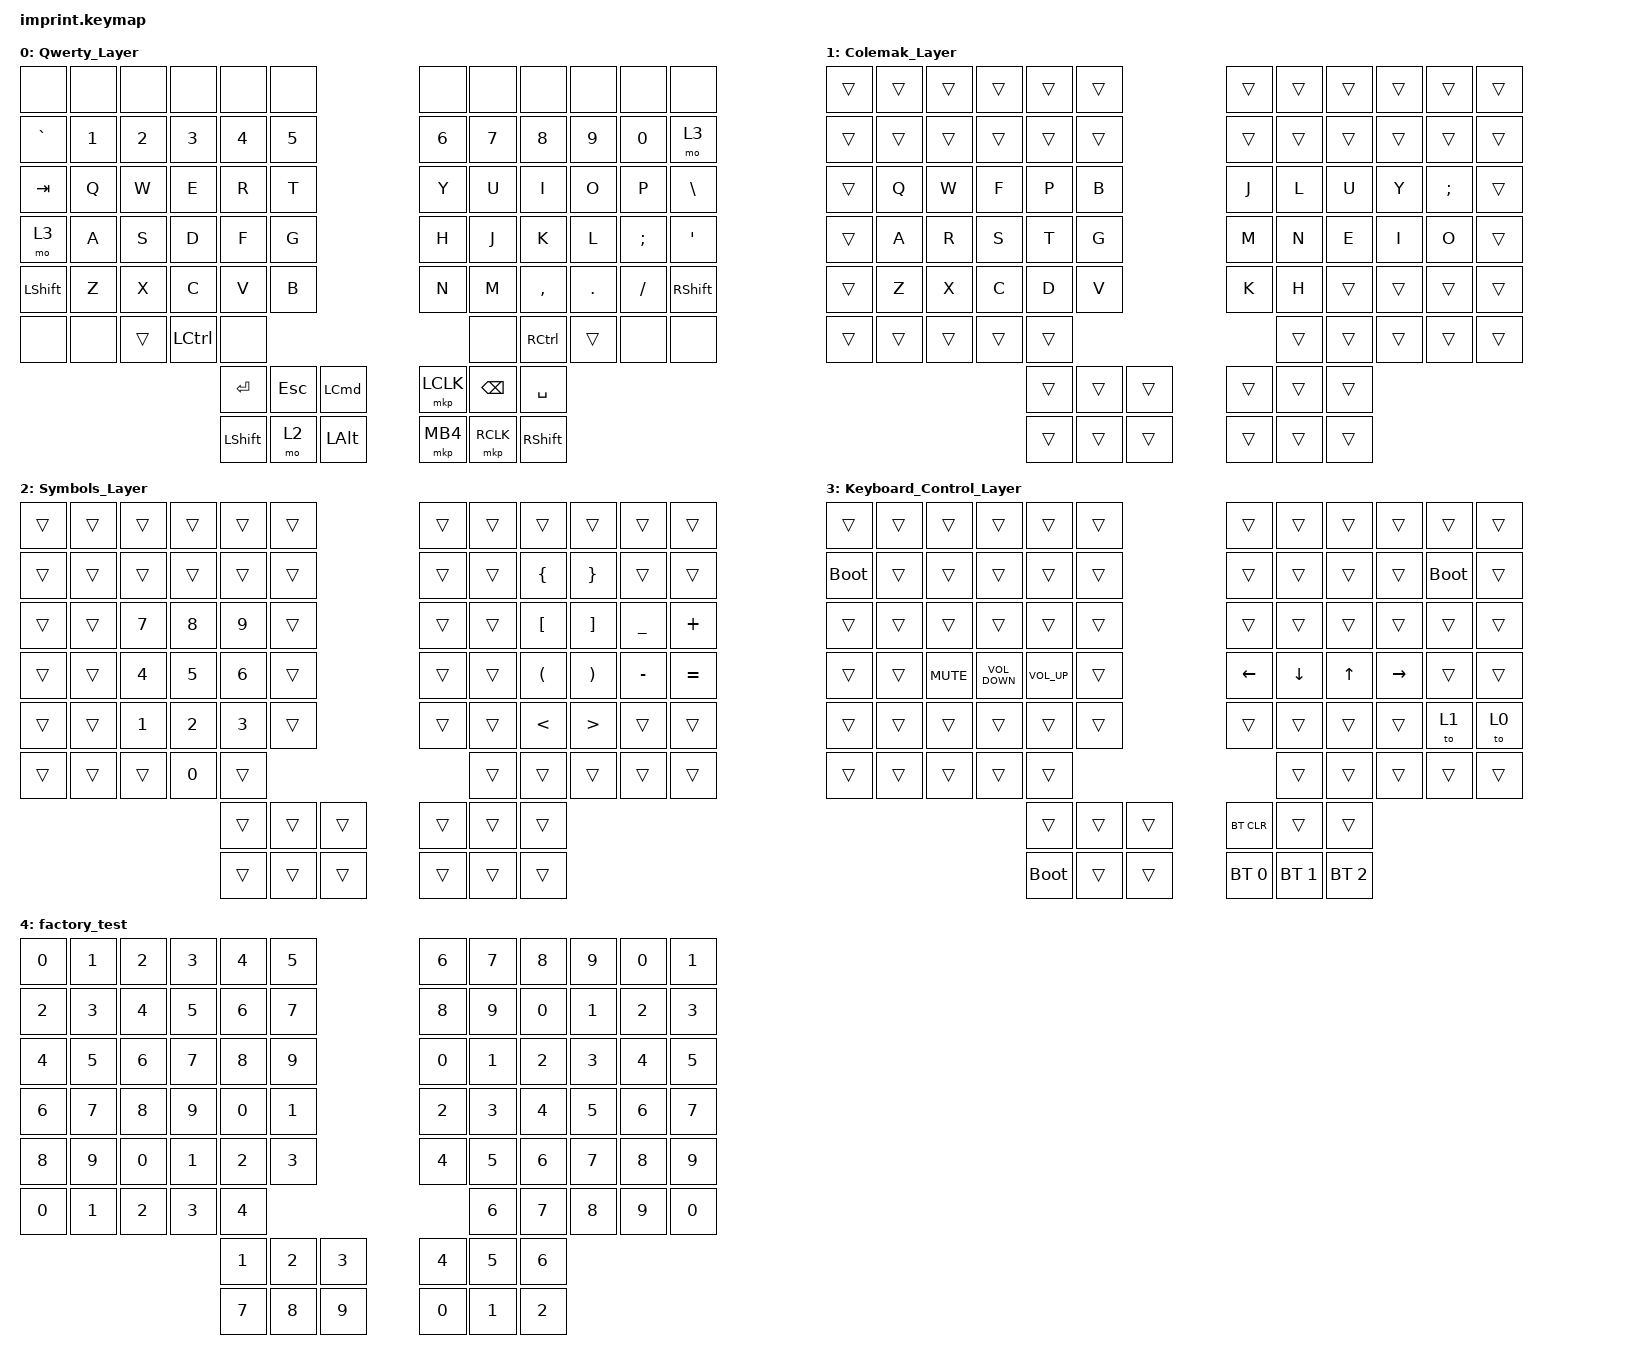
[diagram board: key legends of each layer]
#include <input/processors.dtsi>
#include <dt-bindings/zmk/input_transform.h>
#include <behaviors.dtsi>
#include <dt-bindings/zmk/bt.h>
#include <dt-bindings/zmk/keys.h>
#include <dt-bindings/zmk/pointing.h>

/ {
    chosen { zmk,matrix-transform = &imprint_function_row_full_bottom_row; };

    keymap {
        compatible = "zmk,keymap";

        Qwerty_Layer {
            bindings = <
&none      &none   &none   &none             &none           &none                           &none      &none      &none              &none    &none          &none
&kp GRAVE  &kp N1  &kp N2  &kp N3            &kp N4          &kp N5                          &kp N6     &kp N7     &kp N8             &kp N9   &kp N0         &mo 3
&kp TAB    &kp Q   &kp W   &kp E             &kp R           &kp T                           &kp Y      &kp U      &kp I              &kp O    &kp P          &kp BSLH
&mo 3      &kp A   &kp S   &kp D             &kp F           &kp G                           &kp H      &kp J      &kp K              &kp L    &kp SEMICOLON  &kp SQT
&kp LSHFT  &kp Z   &kp X   &kp C             &kp V           &kp B                           &kp N      &kp M      &kp COMMA          &kp DOT  &kp FSLH       &kp RSHFT
&none      &none   &trans  &kp LEFT_CONTROL  &none                                                      &none      &kp RIGHT_CONTROL  &trans   &none          &none
                                             &kp RET         &kp ESCAPE  &kp LEFT_COMMAND    &mkp LCLK  &kp BSPC   &kp SPACE
                                             &kp LEFT_SHIFT  &mo 2       &kp LEFT_ALT        &mkp MB4   &mkp RCLK  &kp RIGHT_SHIFT
            >;
        };

        Colemak_Layer {
            bindings = <
&trans  &trans  &trans  &trans  &trans  &trans            &trans  &trans  &trans  &trans  &trans         &trans
&trans  &trans  &trans  &trans  &trans  &trans            &trans  &trans  &trans  &trans  &trans         &trans
&trans  &kp Q   &kp W   &kp F   &kp P   &kp B             &kp J   &kp L   &kp U   &kp Y   &kp SEMICOLON  &trans
&trans  &kp A   &kp R   &kp S   &kp T   &kp G             &kp M   &kp N   &kp E   &kp I   &kp O          &trans
&trans  &kp Z   &kp X   &kp C   &kp D   &kp V             &kp K   &kp H   &trans  &trans  &trans         &trans
&trans  &trans  &trans  &trans  &trans                            &trans  &trans  &trans  &trans         &trans
                                &trans  &trans  &trans    &trans  &trans  &trans
                                &trans  &trans  &trans    &trans  &trans  &trans
            >;
        };

        Symbols_Layer {
            bindings = <
&trans  &trans  &trans  &trans  &trans  &trans            &trans  &trans  &trans                &trans                 &trans          &trans
&trans  &trans  &trans  &trans  &trans  &trans            &trans  &trans  &kp LEFT_BRACE        &kp RIGHT_BRACE        &trans          &trans
&trans  &trans  &kp N7  &kp N8  &kp N9  &trans            &trans  &trans  &kp LEFT_BRACKET      &kp RIGHT_BRACKET      &kp UNDERSCORE  &kp PLUS
&trans  &trans  &kp N4  &kp N5  &kp N6  &trans            &trans  &trans  &kp LEFT_PARENTHESIS  &kp RIGHT_PARENTHESIS  &kp MINUS       &kp EQUAL
&trans  &trans  &kp N1  &kp N2  &kp N3  &trans            &trans  &trans  &kp LESS_THAN         &kp GREATER_THAN       &trans          &trans
&trans  &trans  &trans  &kp N0  &trans                            &trans  &trans                &trans                 &trans          &trans
                                &trans  &trans  &trans    &trans  &trans  &trans
                                &trans  &trans  &trans    &trans  &trans  &trans
            >;
        };

        Keyboard_Control_Layer {
            bindings = <
&trans       &trans  &trans      &trans             &trans           &trans            &trans        &trans        &trans        &trans     &trans       &trans
&bootloader  &trans  &trans      &trans             &trans           &trans            &trans        &trans        &trans        &trans     &bootloader  &trans
&trans       &trans  &trans      &trans             &trans           &trans            &trans        &trans        &trans        &trans     &trans       &trans
&trans       &trans  &kp K_MUTE  &kp C_VOLUME_DOWN  &kp C_VOLUME_UP  &trans            &kp LEFT      &kp DOWN      &kp UP        &kp RIGHT  &trans       &trans
&trans       &trans  &trans      &trans             &trans           &trans            &trans        &trans        &trans        &trans     &to 1        &to 0
&trans       &trans  &trans      &trans             &trans                                           &trans        &trans        &trans     &trans       &trans
                                                    &trans           &trans  &trans    &bt BT_CLR    &trans        &trans
                                                    &bootloader      &trans  &trans    &bt BT_SEL 0  &bt BT_SEL 1  &bt BT_SEL 2
            >;
        };

        factory_test {
            bindings = <
&kp N0  &kp N1  &kp N2  &kp N3  &kp N4  &kp N5            &kp N6  &kp N7  &kp N8  &kp N9  &kp N0  &kp N1
&kp N2  &kp N3  &kp N4  &kp N5  &kp N6  &kp N7            &kp N8  &kp N9  &kp N0  &kp N1  &kp N2  &kp N3
&kp N4  &kp N5  &kp N6  &kp N7  &kp N8  &kp N9            &kp N0  &kp N1  &kp N2  &kp N3  &kp N4  &kp N5
&kp N6  &kp N7  &kp N8  &kp N9  &kp N0  &kp N1            &kp N2  &kp N3  &kp N4  &kp N5  &kp N6  &kp N7
&kp N8  &kp N9  &kp N0  &kp N1  &kp N2  &kp N3            &kp N4  &kp N5  &kp N6  &kp N7  &kp N8  &kp N9
&kp N0  &kp N1  &kp N2  &kp N3  &kp N4                            &kp N6  &kp N7  &kp N8  &kp N9  &kp N0
                                &kp N1  &kp N2  &kp N3    &kp N4  &kp N5  &kp N6
                                &kp N7  &kp N8  &kp N9    &kp N0  &kp N1  &kp N2
            >;
        };
    };
};

//right hand trackball configuration

&trackball_peripheral_listener {
};

//left hand trackball configuration

&trackball_central_listener {
    input-processors =
        <&zip_xy_scaler 1 3>,
        <&zip_xy_to_scroll_mapper>,
        <&zip_scroll_transform INPUT_TRANSFORM_Y_INVERT>;
};
